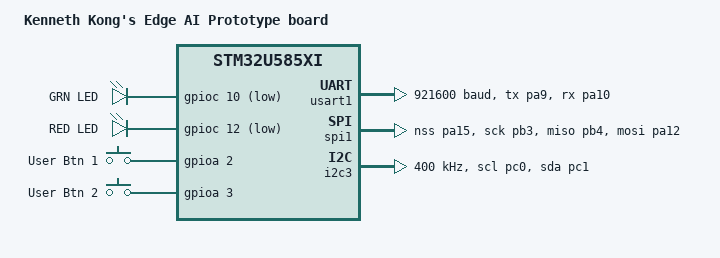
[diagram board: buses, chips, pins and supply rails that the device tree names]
/*
 * Copyright (c) 2021 STMicroelectronics
 *
 * SPDX-License-Identifier: Apache-2.0
 */

/dts-v1/;
#include <st/u5/stm32u585Xi.dtsi>
#include <st/u5/stm32u585ritx-pinctrl.dtsi>
#include <zephyr/dt-bindings/input/input-event-codes.h>

/ {
    model = "Kenneth Kong's Edge AI Prototype board";
    compatible = "kkong,edgeaiproto";

    chosen {
        zephyr,console = &usart1;
        zephyr,shell-uart = &usart1;
        zephyr,uart-mcumgr = &usart1;
        zephyr,sram = &sram0;
        zephyr,flash = &flash0;
        zephyr,code-partition = &slot0_partition;
    };

    leds {
		compatible = "gpio-leds";

		green_led_1: led_1 {
			gpios = <&gpioc 10 GPIO_ACTIVE_LOW>;
			label = "GRN LED";
		};

		red_led_1: led_2 {
			gpios = <&gpioc 12 GPIO_ACTIVE_LOW>;
			label = "RED LED";
		};
	};

    gpio_keys {
		compatible = "gpio-keys";

		user_button_sec: button_1 {
			label = "User Btn 1";
			gpios = <&gpioa 2 (GPIO_ACTIVE_HIGH)>;
			zephyr,code = <INPUT_KEY_0>;
		};
        
        user_button_pri: button_2 {
			label = "User Btn 2";
			gpios = <&gpioa 3 (GPIO_ACTIVE_HIGH)>;
			zephyr,code = <INPUT_KEY_0>;
		};
	};

    aliases {
        led0 = &green_led_1;
        led1 = &red_led_1;
        sw0 = &user_button_pri;
        sw1 = &user_button_sec;
    };
};

/* Clock configuration - STM32U585 can run up to 160MHz */
&clk_hsi48 {
    status = "okay";
};

/* &clk_lse {
    status = "okay";
}; */

&clk_msis {
    status = "okay";
    msi-range = <4>;  /* 4MHz */
    msi-pll-mode;
};

&pll1 {
    div-m = <1>;
    mul-n = <80>;
    div-q = <2>;
    div-r = <2>;
    clocks = <&clk_msis>;
    status = "okay";
};

&rcc {
    clocks = <&pll1>;
    clock-frequency = <DT_FREQ_M(160)>;
    ahb-prescaler = <1>;
    apb1-prescaler = <1>;
    apb2-prescaler = <1>;
    apb3-prescaler = <1>;
};

/* USART1 for console - adjust pins to your design */
&usart1 {
    pinctrl-0 = <&usart1_tx_pa9 &usart1_rx_pa10>;
    pinctrl-names = "default";
    current-speed = <921600>;
    status = "okay";
};

/* Flash partitions */
&flash0 {
    partitions {
        compatible = "fixed-partitions";
        #address-cells = <1>;
        #size-cells = <1>;

        boot_partition: partition@0 {
            label = "mcuboot";
            reg = <0x00000000 DT_SIZE_K(64)>;
        };
        slot0_partition: partition@10000 {
            label = "image-0";
            reg = <0x00010000 DT_SIZE_K(768)>;
        };
        slot1_partition: partition@d0000 {
            label = "image-1";
            reg = <0x000d0000 DT_SIZE_K(768)>;
        };
        storage_partition: partition@190000 {
            label = "storage";
            reg = <0x00190000 DT_SIZE_K(64)>;
        };
    };
};

/* Enable other peripherals as needed */
&gpioa {
    status = "okay";
};

&gpiob {
    status = "okay";
};

&gpioc {
    status = "okay";
};

&spi1 {
	pinctrl-0 = <&spi1_nss_pa15 &spi1_sck_pb3
		     &spi1_miso_pb4 &spi1_mosi_pa12>;
	pinctrl-names = "default";
	status = "okay";
};

&i2c3 {
    pinctrl-0 = <&i2c3_scl_pc0 &i2c3_sda_pc1>;
    pinctrl-names = "default";
    status = "okay";
    clock-frequency = <I2C_BITRATE_FAST>;
};
